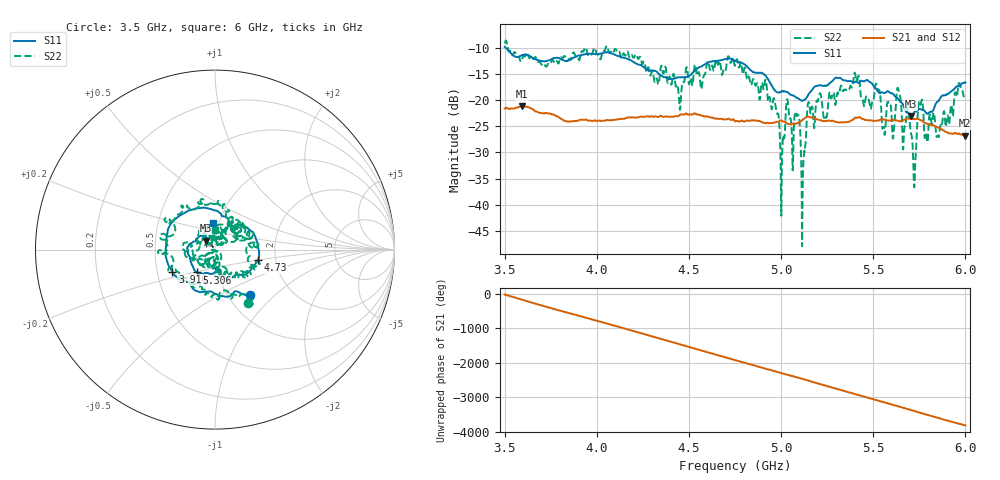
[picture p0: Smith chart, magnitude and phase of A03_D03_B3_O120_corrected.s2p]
! Created with skrf 1.9.0 (http://scikit-rf.org).
# Hz S RI R 50.0
!freq ReS11 ImS11 ReS21 ImS21 ReS12 ImS12 ReS22 ImS22
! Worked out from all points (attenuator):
!   1601 points, 3.5 GHz to 6 GHz, reference 50 ohm
!   highest |S21| = -21.23 dB at 3.592 GHz (marker M1); lowest = -26.8 dB at 5.997 GHz (marker M2)
!   lowest |S11| = -23.1 dB at 5.706 GHz (marker M3), VSWR 1.15, Z = 45.2 + j4.58 ohm
!   |S11| at or under -10 dB: 3.506 GHz to end of sweep
!   |S22| runs from -47.9 to -8.6 dB; largest |S21 - S12| = 0.00098
!   S11 on the Smith chart (normalised r, x): 3.5 GHz: 1.26, -0.72; 3.916 GHz: 0.60, -0.16; 4.73 GHz: 1.61, -0.20; 5.306 GHz: 0.79, -0.21; 6 GHz: 0.94, +0.28
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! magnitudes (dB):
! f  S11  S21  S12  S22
! 3.5 GHz  -9.8  -21.6  -21.6  -9.2
! 3.592 GHz  -11.5  -21.2  -21.2  -12.5
! 3.916 GHz  -11.5  -23.8  -23.8  -11.0
! 3.917 GHz  -11.4  -23.8  -23.8  -10.8
! 4.334 GHz  -14.9  -23.2  -23.2  -17.0
! 4.73 GHz  -12.2  -23.8  -23.7  -12.8
! 4.75 GHz  -12.5  -24.0  -24.0  -13.5
! 4.967 GHz  -18.2  -24.3  -24.2  -20.5
! 5.006 GHz  -18.3  -24.0  -24.0  -29.7
! 5.034 GHz  -18.5  -24.5  -24.4  -19.9
! 5.088 GHz  -19.6  -24.5  -24.5  -23.0
! 5.119 GHz  -20.1  -23.7  -23.6  -34.1
! 5.167 GHz  -18.1  -23.4  -23.3  -21.3
! 5.306 GHz  -15.8  -24.3  -24.2  -18.6
! 5.584 GHz  -18.4  -23.9  -23.9  -20.4
! 5.638 GHz  -19.9  -24.0  -24.0  -18.1
! 5.706 GHz  -23.1  -23.6  -23.6  -26.6
! 5.725 GHz  -22.2  -23.6  -23.6  -35.0
! 5.756 GHz  -21.7  -23.8  -23.8  -20.9
! 5.85 GHz  -20.3  -25.2  -25.2  -26.8
! 5.997 GHz  -16.7  -26.8  -26.7  -19.6
! 6 GHz  -16.7  -26.8  -26.7  -19.4
